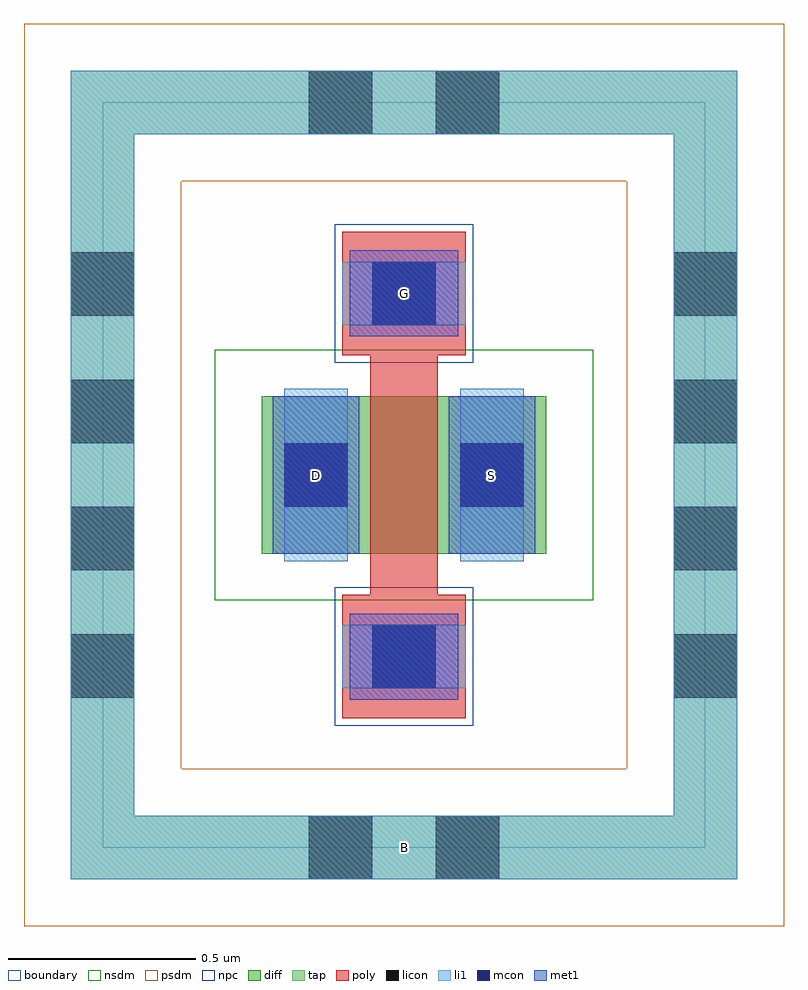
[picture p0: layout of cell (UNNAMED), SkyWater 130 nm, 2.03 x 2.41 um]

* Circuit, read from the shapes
.subckt (UNNAMED) B D G S
XM1 S G D B sky130_fd_pr__nfet_01v8 w=0.42 l=0.18
.ends

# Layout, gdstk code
import gdstk
lib = gdstk.Library(unit=1e-6, precision=1e-09)
def R(c, l, rs):  # rectangles x0, y0, x1, y1
    for r in rs: c.add(gdstk.rectangle(r[:2], r[2:], *l))
def A(c, l, x, y, w, h, nx, ny, dx, dy):  # array of equal rectangles
    R(c, l, [(x+i*dx, y+j*dy, x+i*dx+w, y+j*dy+h) for i in range(nx) for j in range(ny)])
diff = (65, 20)
tap = (65, 44)
poly = (66, 20)
licon = (66, 44)
li1 = (67, 20)
mcon = (67, 44)
met1 = (68, 20)
nsdm = (93, 44)
psdm = (94, 20)
npc = (95, 20)
boundary = (235, 4)

c__unnamed_ = lib.new_cell('(UNNAMED)')
R(c__unnamed_, diff, [(-0.38,-0.21,0.38,0.21)])
R(c__unnamed_, tap, [(-0.89,-1.08,0.89,-0.91), (-0.89,-0.91,-0.72,0.91), (0.72,-0.91,0.89,0.91), (-0.89,0.91,0.89,1.08)])
R(c__unnamed_, poly, [(-0.165,-0.65,0.165,-0.32), (-0.09,-0.32,0.09,0.32), (-0.165,0.32,0.165,0.65)])
A(c__unnamed_, licon, -0.89, -0.595, 0.17, 0.17, 1, 4, 0, 0.34)
A(c__unnamed_, licon, 0.72, -0.595, 0.17, 0.17, 1, 4, 0, 0.34)
R(c__unnamed_, licon, [(-0.255,-1.08,-0.085,-0.91), (0.085,-1.08,0.255,-0.91), (-0.085,-0.57,0.085,-0.4), (-0.32,-0.085,-0.15,0.085), (0.15,-0.085,0.32,0.085), (-0.085,0.4,0.085,0.57), (-0.255,0.91,-0.085,1.08), (0.085,0.91,0.255,1.08)])
R(c__unnamed_, li1, [(-0.89,-1.08,0.89,-0.91), (-0.89,-0.91,-0.72,0.91), (0.72,-0.91,0.89,0.91), (-0.165,-0.57,0.165,-0.4), (-0.32,-0.23,-0.15,0.23), (0.15,-0.23,0.32,0.23), (-0.165,0.4,0.165,0.57), (-0.89,0.91,0.89,1.08)])
R(c__unnamed_, mcon, [(-0.085,-0.57,0.085,-0.4), (-0.32,-0.085,-0.15,0.085), (0.15,-0.085,0.32,0.085), (-0.085,0.4,0.085,0.57)])
R(c__unnamed_, met1, [(-0.145,-0.6,0.145,-0.37), (-0.35,-0.21,-0.12,0.21), (0.12,-0.21,0.35,0.21), (-0.145,0.37,0.145,0.6)])
R(c__unnamed_, nsdm, [(-0.505,-0.335,0.505,0.335)])
R(c__unnamed_, psdm, [(-1.015,-1.205,1.015,-0.785), (-1.015,-0.785,-0.595,0.785), (0.595,-0.785,1.015,0.785), (-1.015,0.785,1.015,1.205)])
R(c__unnamed_, npc, [(-0.185,-0.67,0.185,-0.3), (-0.185,0.3,0.185,0.67)])
R(c__unnamed_, boundary, [(-0.805,-0.995,0.805,0.995)])
c__unnamed_.add(gdstk.Label('B', (0,-0.995), layer=67, texttype=5))
c__unnamed_.add(gdstk.Label('D', (-0.235,0), layer=67, texttype=5))
c__unnamed_.add(gdstk.Label('S', (0.235,0), layer=67, texttype=5))
c__unnamed_.add(gdstk.Label('G', (0,0.485), layer=67, texttype=5))

lib.write_gds('_UNNAMED_.gds')
